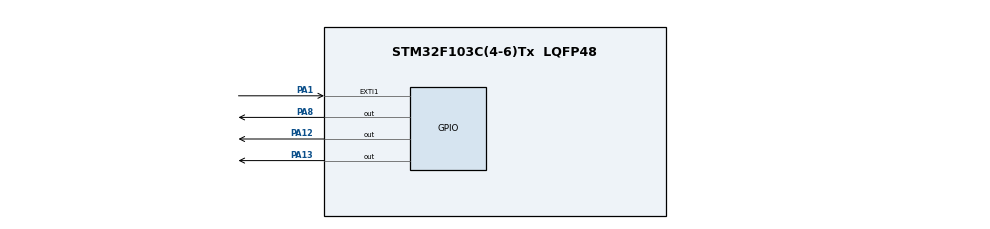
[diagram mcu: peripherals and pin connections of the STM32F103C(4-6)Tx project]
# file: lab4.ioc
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Mcu.Family=STM32F1
Mcu.Name=STM32F103C(4-6)Tx
Mcu.Package=LQFP48
NVIC.EXTI1_IRQn=true\:0\:0\:false\:true\:true\:3\:true\:true
NVIC.PriorityGroup=NVIC_PRIORITYGROUP_4
NVIC.TIM2_IRQn=true\:0\:0\:false\:true\:true\:1\:true\:true
NVIC.TIM3_IRQn=true\:0\:0\:false\:true\:true\:2\:true\:true
PA1.Signal=GPXTI1
PA12.Signal=GPIO_Output
PA13.Signal=GPIO_Output
PA8.Signal=GPIO_Output
ProjectManager.HeapSize=0x200
ProjectManager.StackSize=0x400
ProjectManager.TargetToolchain=STM32CubeIDE
RCC.APB1Freq_Value=8000000
RCC.APB2Freq_Value=8000000
TIM2.Period=200
TIM2.Prescaler=8000
TIM2.TIM_MasterOutputTrigger=TIM_TRGO_UPDATE
TIM3.Period=300
TIM3.Prescaler=6000
TIM3.TIM_MasterOutputTrigger=TIM_TRGO_UPDATE
VP_SYS_VS_ND.Mode=No_Debug
VP_TIM2_VS_ClockSourceINT.Mode=Internal
VP_TIM3_VS_ClockSourceINT.Mode=Internal
board=custom

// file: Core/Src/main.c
/* USER CODE BEGIN Header */
/**
  ******************************************************************************
  * @file           : main.c
  * @brief          : Main program body
  ******************************************************************************
  * @attention
  *
  * <h2><center>&copy; Copyright (c) 2021 STMicroelectronics.
  * All rights reserved.</center></h2>
  *
  * This software component is licensed by ST under BSD 3-Clause license,
  * the "License"; You may not use this file except in compliance with the
  * License. You may obtain a copy of the License at:
  *                        opensource.org/licenses/BSD-3-Clause
  *
  ******************************************************************************
  */
/* USER CODE END Header */
#include "main.h"

TIM_HandleTypeDef htim2;
TIM_HandleTypeDef htim3;

void SystemClock_Config(void);
static void MX_GPIO_Init(void);
static void MX_TIM2_Init(void);
static void MX_TIM3_Init(void);
static void MX_NVIC_Init(void);

int main(void)
{

  /* MCU Configuration--------------------------------------------------------*/

  /* Reset of all peripherals, Initializes the Flash interface and the Systick. */
  HAL_Init();

  /* Configure the system clock */
  SystemClock_Config();

  /* Initialize all configured peripherals */
  MX_GPIO_Init();
  MX_TIM2_Init();
  MX_TIM3_Init();

  /* Initialize interrupts */
  MX_NVIC_Init();
  /* USER CODE BEGIN 2 */
  HAL_TIM_Base_Start_IT(&htim2);
  HAL_TIM_Base_Start_IT(&htim3);
  /* USER CODE END 2 */

  /* Infinite loop */
  /* USER CODE BEGIN WHILE */
  while (1)
  {
	  HAL_GPIO_TogglePin(GPIOA, GPIO_PIN_13);
	  HAL_Delay(500);
    /* USER CODE END WHILE */

  }
}

void SystemClock_Config(void)
{
  RCC_OscInitTypeDef RCC_OscInitStruct = {0};
  RCC_ClkInitTypeDef RCC_ClkInitStruct = {0};

  /** Initializes the RCC Oscillators according to the specified parameters
  * in the RCC_OscInitTypeDef structure.
  */
  RCC_OscInitStruct.OscillatorType = RCC_OSCILLATORTYPE_HSI;
  RCC_OscInitStruct.HSIState = RCC_HSI_ON;
  RCC_OscInitStruct.HSICalibrationValue = RCC_HSICALIBRATION_DEFAULT;
  RCC_OscInitStruct.PLL.PLLState = RCC_PLL_NONE;
  if (HAL_RCC_OscConfig(&RCC_OscInitStruct) != HAL_OK)
  {
    Error_Handler();
  }
  /** Initializes the CPU, AHB and APB buses clocks
  */
  RCC_ClkInitStruct.ClockType = RCC_CLOCKTYPE_HCLK|RCC_CLOCKTYPE_SYSCLK
                              |RCC_CLOCKTYPE_PCLK1|RCC_CLOCKTYPE_PCLK2;
  RCC_ClkInitStruct.SYSCLKSource = RCC_SYSCLKSOURCE_HSI;
  RCC_ClkInitStruct.AHBCLKDivider = RCC_SYSCLK_DIV1;
  RCC_ClkInitStruct.APB1CLKDivider = RCC_HCLK_DIV1;
  RCC_ClkInitStruct.APB2CLKDivider = RCC_HCLK_DIV1;

  if (HAL_RCC_ClockConfig(&RCC_ClkInitStruct, FLASH_LATENCY_0) != HAL_OK)
  {
    Error_Handler();
  }
}

/**
  * @brief NVIC Configuration.
  * @retval None
  */
static void MX_NVIC_Init(void)
{
  /* TIM2_IRQn interrupt configuration */
  HAL_NVIC_SetPriority(TIM2_IRQn, 0, 0);
  HAL_NVIC_EnableIRQ(TIM2_IRQn);
  /* TIM3_IRQn interrupt configuration */
  HAL_NVIC_SetPriority(TIM3_IRQn, 0, 0);
  HAL_NVIC_EnableIRQ(TIM3_IRQn);
  /* EXTI1_IRQn interrupt configuration */
  HAL_NVIC_SetPriority(EXTI1_IRQn, 0, 0);
  HAL_NVIC_EnableIRQ(EXTI1_IRQn);
}

static void MX_TIM2_Init(void)
{

  TIM_ClockConfigTypeDef sClockSourceConfig = {0};
  TIM_MasterConfigTypeDef sMasterConfig = {0};

  htim2.Instance = TIM2;
  htim2.Init.Prescaler = 8000;
  htim2.Init.CounterMode = TIM_COUNTERMODE_UP;
  htim2.Init.Period = 200;
  htim2.Init.ClockDivision = TIM_CLOCKDIVISION_DIV1;
  htim2.Init.AutoReloadPreload = TIM_AUTORELOAD_PRELOAD_DISABLE;
  if (HAL_TIM_Base_Init(&htim2) != HAL_OK)
  {
    Error_Handler();
  }
  sClockSourceConfig.ClockSource = TIM_CLOCKSOURCE_INTERNAL;
  if (HAL_TIM_ConfigClockSource(&htim2, &sClockSourceConfig) != HAL_OK)
  {
    Error_Handler();
  }
  sMasterConfig.MasterOutputTrigger = TIM_TRGO_UPDATE;
  sMasterConfig.MasterSlaveMode = TIM_MASTERSLAVEMODE_DISABLE;
  if (HAL_TIMEx_MasterConfigSynchronization(&htim2, &sMasterConfig) != HAL_OK)
  {
    Error_Handler();
  }

}

static void MX_TIM3_Init(void)
{

  TIM_ClockConfigTypeDef sClockSourceConfig = {0};
  TIM_MasterConfigTypeDef sMasterConfig = {0};

  htim3.Instance = TIM3;
  htim3.Init.Prescaler = 6000;
  htim3.Init.CounterMode = TIM_COUNTERMODE_UP;
  htim3.Init.Period = 300;
  htim3.Init.ClockDivision = TIM_CLOCKDIVISION_DIV1;
  htim3.Init.AutoReloadPreload = TIM_AUTORELOAD_PRELOAD_DISABLE;
  if (HAL_TIM_Base_Init(&htim3) != HAL_OK)
  {
    Error_Handler();
  }
  sClockSourceConfig.ClockSource = TIM_CLOCKSOURCE_INTERNAL;
  if (HAL_TIM_ConfigClockSource(&htim3, &sClockSourceConfig) != HAL_OK)
  {
    Error_Handler();
  }
  sMasterConfig.MasterOutputTrigger = TIM_TRGO_UPDATE;
  sMasterConfig.MasterSlaveMode = TIM_MASTERSLAVEMODE_DISABLE;
  if (HAL_TIMEx_MasterConfigSynchronization(&htim3, &sMasterConfig) != HAL_OK)
  {
    Error_Handler();
  }

}

static void MX_GPIO_Init(void)
{
  GPIO_InitTypeDef GPIO_InitStruct = {0};

  /* GPIO Ports Clock Enable */
  __HAL_RCC_GPIOA_CLK_ENABLE();

  /*Configure GPIO pin Output Level */
  HAL_GPIO_WritePin(GPIOA, GPIO_PIN_8|GPIO_PIN_12|GPIO_PIN_13, GPIO_PIN_RESET);

  /*Configure GPIO pin : PA1 */
  GPIO_InitStruct.Pin = GPIO_PIN_1;
  GPIO_InitStruct.Mode = GPIO_MODE_IT_RISING;
  GPIO_InitStruct.Pull = GPIO_NOPULL;
  HAL_GPIO_Init(GPIOA, &GPIO_InitStruct);

  /*Configure GPIO pins : PA8 PA12 PA13 */
  GPIO_InitStruct.Pin = GPIO_PIN_8|GPIO_PIN_12|GPIO_PIN_13;
  GPIO_InitStruct.Mode = GPIO_MODE_OUTPUT_PP;
  GPIO_InitStruct.Pull = GPIO_NOPULL;
  GPIO_InitStruct.Speed = GPIO_SPEED_FREQ_LOW;
  HAL_GPIO_Init(GPIOA, &GPIO_InitStruct);

}

/* USER CODE BEGIN 4 */
void HAL_GPIO_EXTI_Callback(uint16_t GPIO_Pin){
	if(HAL_GPIO_ReadPin(GPIOA, GPIO_PIN_1) == GPIO_PIN_SET)
	{
		HAL_TIM_Base_Stop_IT(&htim2);
		HAL_TIM_Base_Stop_IT(&htim3);
	} else {
		HAL_TIM_Base_Start_IT(&htim2);
		HAL_TIM_Base_Start_IT(&htim3);
	}
}

void HAL_TIM_PeriodElapsedCallback(TIM_HandleTypeDef *htim)
{
	if(htim->Instance == TIM2)
	{
		HAL_GPIO_TogglePin(GPIOA, GPIO_PIN_8);
	}
	else
	{
		HAL_GPIO_TogglePin(GPIOA, GPIO_PIN_12);
	}
}
/* USER CODE END 4 */

void Error_Handler(void)
{
  __disable_irq();
  while (1)
  {
  }
}

/************************ (C) COPYRIGHT STMicroelectronics *****END OF FILE****/
